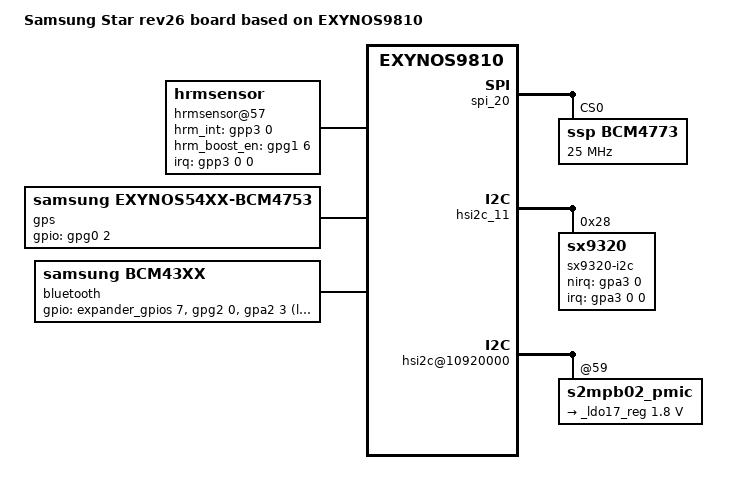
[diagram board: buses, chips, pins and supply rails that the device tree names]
/*
 * SAMSUNG EXYNOS9810 board device tree source
 *
 * Copyright (c) 2017 Samsung Electronics Co., Ltd.
 *		http://www.samsung.com
 *
 * This program is free software; you can redistribute it and/or modify
 * it under the terms of the GNU General Public License version 2 as
 * published by the Free Software Foundation.
 */

/dts-v1/;
#include "battery_data_starlte_eur_18.dtsi"
#include "exynos9810-starlte_common.dtsi"
#include "exynos9810-starlte_eur_open_gpio_18.dtsi"
#include "exynos9810-starlte_if-pmic-max77705.dtsi"
//#include "exynos9810-starlte_fingerprint_16.dtsi"
#include "exynos9810-starlte_mst_01.dtsi"
#include "exynos9810-starlte_nfc.dtsi"
//#include "exynos9810-starlte_ese.dtsi"

/ {
	model = "Samsung Star rev26 board based on EXYNOS9810";
	model_info-chip = <9810>;
	model_info-platform = "android";
	model_info-subtype = "samsung";
	model_info-hw_rev = <26>;
	model_info-hw_rev_end = <255>;
	compatible = "Samsung, Star rev26", "Samsung,EXYNOS9810";

		hrmsensor@57 {
			compatible = "hrmsensor";
			reg = <0x57>;
			interrupt-parent = <&gpp3>;
			interrupts = <0 0 0>;
			pinctrl-names = "default", "sleep", "idle";
			pinctrl-0 = <&hrm_irq &hrm_en>;
			pinctrl-1 = <&hrm_irqsleep &hrm_ensleep>;
			pinctrl-2 = <&hrm_irqidle &hrm_enidle>;
			hrmsensor,hrm_int-gpio = <&gpp3 0 0>;
			hrmsensor,hrm_boost_en-gpio = <&gpg1 6 0>;
			hrmsensor,vdd_1p8 = "HRM_1.8V_AP";
			hrmsensor,i2c_1p8 = "VDD_NFC_1P8";
		};

	pinctrl@10430000 {
		hrm_en: hrm-en {
			samsung,pins = "gpg1-6";
			samsung,pin-function = <0>;
			samsung,pin-pud = <1>;
			samsung,pin-drv = <2>;
		};

		hrm_ensleep: hrm-ensleep {
			samsung,pins = "gpg1-6";
			samsung,pin-con-pdn = <2>;
			samsung,pin-pud-pdn = <1>;
		};

		hrm_enidle: hrm-enidle {
			samsung,pins = "gpg1-6";
			samsung,pin-function = <0>;
			samsung,pin-pud = <1>;
			samsung,pin-drv = <2>;
		};

		cfg_wlanen: cfg_wlanen {
			samsung,pins = "gpg0-5";
			samsung,pin-function = <1>;
			samsung,pin-pud = <0>; /* NONE */
			samsung,pin-drv = <3>;
			samsung,pin-con-pdn = <3>;
		};
	};

	spi_20: spi@13AC0000{
		#address-cells = <1>;
		#size-cells = <0>;

		pinctrl-names = "default";
		pinctrl-0 = <&sensorhub_mosi_sck_ssn &sensorhub_miso>;

		num-cs = <1>;
		status = "okay";
	/*
	 *	dma-mode;
	 *	dmas = <&pdma0 21 0
	 *		&pdma0 20 0>;
	 */
		BCM4773@0 {
			compatible = "ssp,BCM4773";
			reg = <0>;
			/* spi-max-frequency = <26000000>; */
			spi-max-frequency = <25000000>;
			spi-cpol;
			spi-cpha;
			pinctrl-names = "default";
			pinctrl-0 = <&ssp_host_req &ssp_mcu_req &ssp_mcu_resp &ssp_batch_wake_irq &ssp_shub_int>;

			gpio-controller;
			#gpio-cells = <2>;
			ssp-host-req = <&gpa1 7 0x00>;
			ssp-mcu-req = <&gph0 5 0x00>;
			ssp-mcu-resp = <&gph0 4 0x00>;
			ssp-batch-wake-irq = <&gpa0 5 0x00>;
			ssp-shub-int = <&gpa4 0 0x00>;
			ssp-acc-position = <4>;
			ssp-mag-position = <5>;
			ssp-sns-combination = <0>;
			ssp-ap-rev = <1>;
			ssp-mag-array = /bits/ 8 <216 82 110 20 16 123 255 209 211 54 70 37 180 8 0 147 255 113 132 121
						190 252 250 15 9 40 180>;
			ssp-thermi-up = /bits/ 16 <3023 2990 2952 2903 2843 2772 2684 2582 2464 2335 2190 2037 1882 1742
						1558 1397 1246 1103 974 851 746 651 601>;
			ssp-thermi-sub = /bits/ 16 <3021 2990 2951 2903 2843 2771 2685 2584 2467 2339 2195 2044 1891
						1747 1567 1409 1258 1115 986 864 759 662 612>;
			ssp-glass-type = <0>;
			ssp-mag-type = <1>;
			ssp-vdd-mcu-1p8 = "vdd_mcu_1p8";

			controller-data {
				cs-gpio = <&gph0 3 0>;
				samsung,spi-feedback-delay = <0>;
			};
		};
	};

	pinctrl@10430000 {
		ssp_gps_pwr_en: ssp-gps-pwr-en {
			samsung,pins = "gpg0-2";
			samsung,pin-function = <1>;
			samsung,pin-pud = <1>;
			samsung,pin-drv = <3>;
			samsung,pin-con-pdn = <3>;
			samsung,pin-pud-pdn = <0>;
		};
	};

	gps {
		compatible = "samsung,exynos54xx-bcm4753";

		pinctrl-names = "hub_en";
		pinctrl-0 = <&ssp_gps_pwr_en>;

		gpios = <&gpg0 2 0x0>;
		status = "okay";
	};

	pinctrl@14050000 {
		grip_irq: grip-irq {
			samsung,pins = "gpa3-0";
			samsung,pin-function = <0xf>;
			samsung,pin-pud = <0>;
			samsung,pin-drv = <3>;
		};
	};

	hsi2c_11: hsi2c@104C0000 {
		status = "okay";
		sx9320-i2c@22 {
			compatible = "sx9320";
			reg = <0x28>;
			status = "okay";
			pinctrl-names = "default";
			pinctrl-0 = <&grip_irq>;
			interrupt-parent = <&gpa3>;
			interrupts = <0 0 0>;

			/* only phase 3 enable */
			sx9320,phen = <0x03>;
			sx9320,nirq-gpio = <&gpa3 0 0x00>;
			sx9320,gain = <0x01>;
			sx9320,again = <0x08>;
			sx9320,scan_period = <0x16>;
			sx9320,range = <0x00>;
			sx9320,sampling_freq = <0x00>;
			sx9320,resolution = <0x07>;
			sx9320,rawfilt = <0x01>;
			sx9320,hyst = <0x01>;
			sx9320,avgposfilt = <0x04>;
			sx9320,avgnegfilt = <0x01>;
			sx9320,avgthresh = <0x20>;
			sx9320,debouncer = <0x01>;
			sx9320,normal_thd = <0x20>;
			sx9320,afeph0 = <0x0>;
			sx9320,afeph1 = <0x0>;
			sx9320,afeph2 = <0x0>;
			sx9320,afeph3 = <0x4>;
		};
	};

	speedy@141C0000 {
		status = "okay";
		s2mps18mfd@00 {
			regulators {
				ldo37_reg: LDO37 {
					regulator-name = "vdd_mcu_1p8";
					regulator-min-microvolt = <1800000>;
					regulator-max-microvolt = <1800000>;
				};
			};
		};
	};

	pinctrl@14050000 {
		bt_hostwake: bt-hostwake {
			samsung,pins = "gpa2-3";
			samsung,pin-function = <0>;
			samsung,pin-pud = <0>;
		};
	};

	pinctrl@10430000 {
		bt_btwake: bt-btwake {
			samsung,pins = "gpg2-0";
			samsung,pin-function = <1>;
			samsung,pin-pud = <0>;
			samsung,pin-con-pdn = <3>;
			samsung,pin-pud-pdn = <0>;
		};
	};

	bluetooth {
		compatible = "samsung,bcm43xx";

		gpios = <&expander_gpios 7 0    /*BT_EN*/
			&gpg2 0 0    /*BT_WAKE*/
			&gpa2 3 0xF    /*BT_HOST_WAKE*/ >;
		pinctrl-names = "default";
		pinctrl-0=<&bt_hostwake &bt_btwake>;
		status = "okay";
	};

	hsi2c@10920000 {
		s2mpb02_pmic@59 {
			regulators {
				_ldo17_reg: s2mpb02-ldo17 {
					regulator-name = "VDD_GRIP_1P8";
					regulator-min-microvolt = <1800000>;
					regulator-max-microvolt = <1800000>;
					regulator-always-on;
					regulator-boot-on;
				};
			};
		};
	};

	dwmmc2@11500000 {
		ssc-rate = <3>;
	};

	pinctrl@11430000 {
		sd2_cmd: sd2-cmd {
			samsung,pins = "gpf1-1";
			samsung,pin-function = <2>;
			samsung,pin-pud = <0>;
			samsung,pin-drv = <3>;
		};

		sd2_bus1: sd2-bus-width1 {
			samsung,pins = "gpf1-2";
			samsung,pin-function = <2>;
			samsung,pin-pud = <0>;
			samsung,pin-drv = <3>;
		};

		sd2_bus4: sd2-bus-width4 {
			samsung,pins = "gpf1-3", "gpf1-4", "gpf1-5";
			samsung,pin-function = <2>;
			samsung,pin-pud = <0>;
			samsung,pin-drv = <3>;
		};
	};
};
